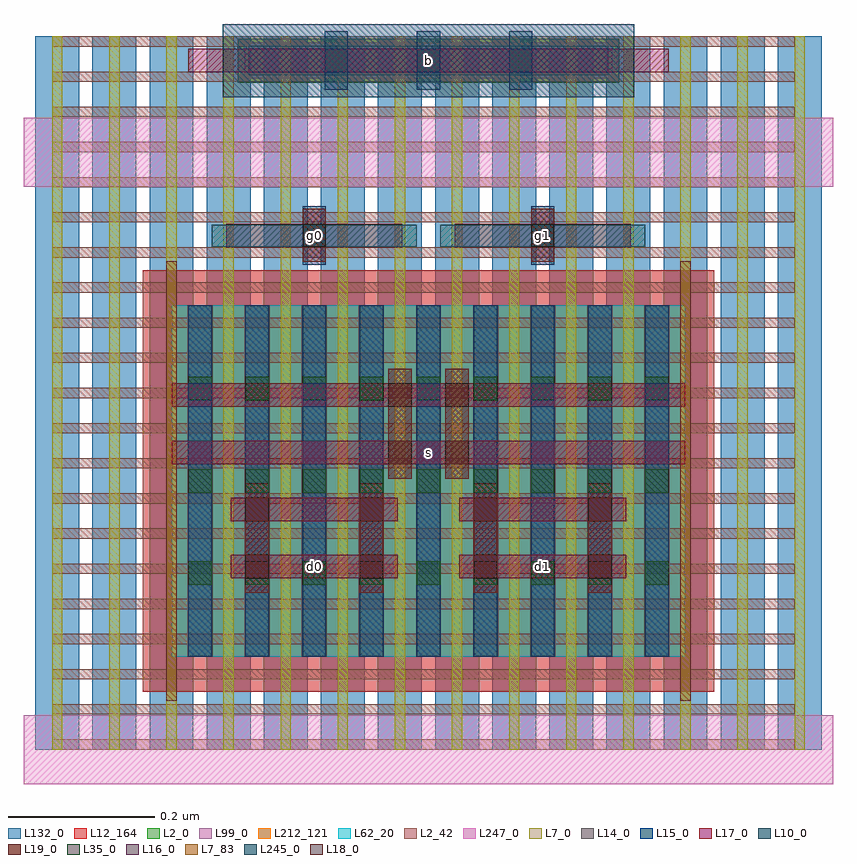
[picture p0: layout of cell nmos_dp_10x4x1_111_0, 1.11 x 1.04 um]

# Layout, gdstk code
import gdstk
lib = gdstk.Library(unit=1e-6, precision=1e-12)
def R(c, l, rs):  # rectangles x0, y0, x1, y1
    for r in rs: c.add(gdstk.rectangle(r[:2], r[2:], *l))
def A(c, l, x, y, w, h, nx, ny, dx, dy):  # array of equal rectangles
    R(c, l, [(x+i*dx, y+j*dy, x+i*dx+w, y+j*dy+h) for i in range(nx) for j in range(ny)])
L2_0 = (2, 0)
L2_42 = (2, 42)
L7_0 = (7, 0)
L7_83 = (7, 83)
L10_0 = (10, 0)
L12_164 = (12, 164)
L14_0 = (14, 0)
L15_0 = (15, 0)
L16_0 = (16, 0)
L17_0 = (17, 0)
L18_0 = (18, 0)
L19_0 = (19, 0)
L35_0 = (35, 0)
L62_20 = (62, 20)
L99_0 = (99, 0)
L132_0 = (132, 0)
L212_121 = (212, 121)
L245_0 = (245, 0)
L247_0 = (247, 0)

nmos_dp_10x4x1_111_0 = lib.new_cell('nmos_dp_10x4x1_111_0')
R(nmos_dp_10x4x1_111_0, L2_0, [(0.186,0.127,0.888,0.607), (0.2762,0.911,0.7978,0.971)])
A(nmos_dp_10x4x1_111_0, L2_42, 0.023, 0, 1.014, 0.014, 1, 21, 0, 0.048)
A(nmos_dp_10x4x1_111_0, L7_0, 0.023, 0, 0.014, 0.974, 14, 1, 0.078, 0)
R(nmos_dp_10x4x1_111_0, L7_83, [(0.179,0.067,0.193,0.667), (0.881,0.067,0.895,0.667)])
R(nmos_dp_10x4x1_111_0, L10_0, [(0.2562,0.891,0.8178,0.991)])
R(nmos_dp_10x4x1_111_0, L12_164, [(0.147,0.079,0.927,0.655)])
A(nmos_dp_10x4x1_111_0, L14_0, 0.208, 0.127, 0.034, 0.48, 9, 1, 0.078, 0)
R(nmos_dp_10x4x1_111_0, L14_0, [(0.2912,0.921,0.7828,0.961)])
A(nmos_dp_10x4x1_111_0, L15_0, 0.209, 0.127, 0.032, 0.48, 9, 1, 0.078, 0)
A(nmos_dp_10x4x1_111_0, L15_0, 0.395, 0.901, 0.032, 0.08, 3, 1, 0.126, 0)
R(nmos_dp_10x4x1_111_0, L15_0, [(0.365,0.662,0.397,0.742), (0.677,0.662,0.709,0.742)])
A(nmos_dp_10x4x1_111_0, L16_0, 0.287, 0.234, 0.032, 0.032, 4, 2, 0.156, 0.078)
A(nmos_dp_10x4x1_111_0, L16_0, 0.209, 0.39, 0.032, 0.032, 5, 2, 0.156, 0.078)
A(nmos_dp_10x4x1_111_0, L16_0, 0.395, 0.925, 0.032, 0.032, 3, 1, 0.126, 0)
R(nmos_dp_10x4x1_111_0, L16_0, [(0.365,0.686,0.397,0.718), (0.677,0.686,0.709,0.718)])
R(nmos_dp_10x4x1_111_0, L17_0, [(0.267,0.234,0.495,0.266), (0.579,0.234,0.807,0.266), (0.267,0.312,0.495,0.344), (0.579,0.312,0.807,0.344), (0.186,0.39,0.888,0.422), (0.186,0.468,0.888,0.5), (0.261,0.686,0.501,0.718), (0.573,0.686,0.813,0.718), (0.209,0.925,0.865,0.957)])
A(nmos_dp_10x4x1_111_0, L18_0, 0.287, 0.234, 0.032, 0.032, 4, 2, 0.156, 0.078)
R(nmos_dp_10x4x1_111_0, L18_0, [(0.482,0.39,0.514,0.422), (0.56,0.39,0.592,0.422), (0.482,0.468,0.514,0.5), (0.56,0.468,0.592,0.5), (0.365,0.686,0.397,0.718), (0.677,0.686,0.709,0.718)])
A(nmos_dp_10x4x1_111_0, L19_0, 0.287, 0.214, 0.032, 0.15, 4, 1, 0.156, 0)
R(nmos_dp_10x4x1_111_0, L19_0, [(0.482,0.37,0.514,0.52), (0.56,0.37,0.592,0.52), (0.365,0.666,0.397,0.739), (0.677,0.666,0.709,0.739)])
A(nmos_dp_10x4x1_111_0, L35_0, 0.209, 0.225, 0.032, 0.032, 9, 3, 0.078, 0.126)
A(nmos_dp_10x4x1_111_0, L35_0, 0.395, 0.925, 0.032, 0.032, 3, 1, 0.126, 0)
R(nmos_dp_10x4x1_111_0, L35_0, [(0.365,0.686,0.397,0.718), (0.677,0.686,0.709,0.718)])
R(nmos_dp_10x4x1_111_0, L62_20, [(0.186,0.127,0.888,0.607)])
R(nmos_dp_10x4x1_111_0, L99_0, [(0.186,0.127,0.888,0.607), (0.2862,0.916,0.7878,0.966)])
A(nmos_dp_10x4x1_111_0, L132_0, 0, 0, 0.06, 0.974, 14, 1, 0.078, 0)
R(nmos_dp_10x4x1_111_0, L212_121, [(0.186,0.127,0.888,0.607)])
R(nmos_dp_10x4x1_111_0, L245_0, [(0.241,0.687,0.521,0.717), (0.553,0.687,0.833,0.717)])
R(nmos_dp_10x4x1_111_0, L247_0, [(-0.016,-0.047,1.09,0.047), (-0.016,0.769,1.09,0.863)])
nmos_dp_10x4x1_111_0.add(gdstk.Label('s', (0.537,0.406), layer=16, texttype=20))
nmos_dp_10x4x1_111_0.add(gdstk.Label('d1', (0.693,0.25), layer=16, texttype=20))
nmos_dp_10x4x1_111_0.add(gdstk.Label('d0', (0.381,0.25), layer=16, texttype=20))
nmos_dp_10x4x1_111_0.add(gdstk.Label('g0', (0.381,0.7025), layer=16, texttype=20))
nmos_dp_10x4x1_111_0.add(gdstk.Label('g1', (0.693,0.7025), layer=16, texttype=20))
nmos_dp_10x4x1_111_0.add(gdstk.Label('b', (0.537,0.941), layer=16, texttype=20))

lib.write_gds('nmos_dp_10x4x1_111_0.gds')
